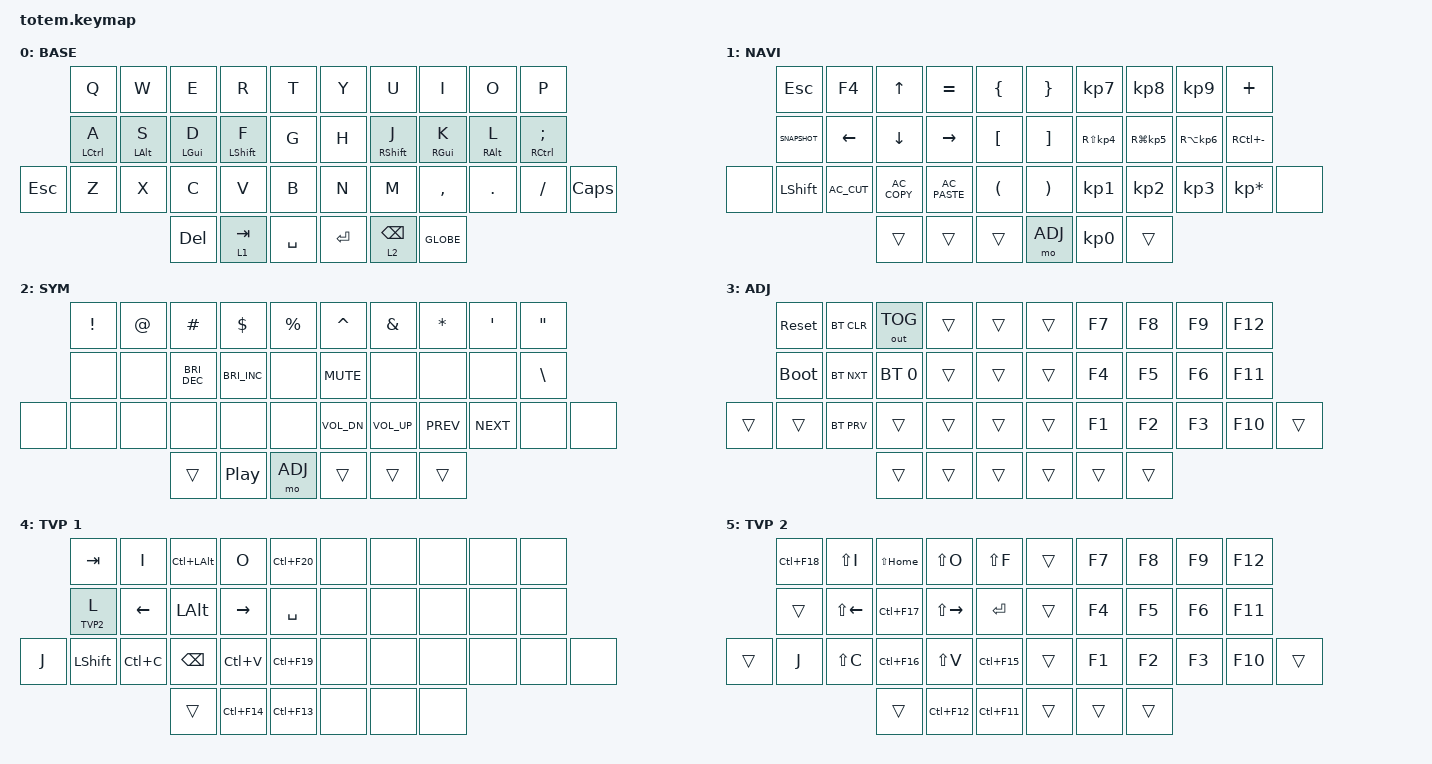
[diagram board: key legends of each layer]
//
//                                                        ▀▀▀▀▀     ▀▀▀▀▀          ▀▀█▀▀
//                                                        ▄▀▀▀▄  ▄  ▄▀▀▀▄  ▄  ▄▀▀▀▄  █  ▄▀▀▀▄
//                                                        █   █  █  █   █  █  █   █  █  █   █
//                                                         ▀▀▀   █   ▀▀▀   █   ▀▀▀   ▀   ▀▀▀
//                                                               █      ▄▄▄█▄▄▄    █   █  
//                                                               ▀      █  █  █     █▄█
//                                                             ▀▀▀▀▀    █  █  █      ▀
//                                                                      ▀  ▀  ▀
//
// ▄▄▄▄▄▄▄▄▄▄▄▄▄▄▄▄▄▄▄▄▄▄▄▄▄▄▄▄▄▄▄▄▄▄▄▄▄▄▄▄▄▄▄▄▄▄▄▄▄▄▄▄▄▄▄▄▄▄▄▄▄▄▄▄▄▄▄▄▄▄▄▄▄▄▄▄▄▄▄▄▄▄▄▄▄▄▄▄▄▄▄▄▄▄▄▄▄▄▄▄▄▄▄▄▄▄▄▄▄▄▄▄▄▄▄▄▄▄▄▄▄▄▄▄▄▄▄▄▄▄▄▄▄▄▄▄▄▄▄▄▄▄▄▄▄▄▄▄▄

#include <behaviors.dtsi>
#include <dt-bindings/zmk/bt.h>
#include <dt-bindings/zmk/keys.h>
#include <dt-bindings/zmk/outputs.h>

#define BASE 0
#define NAV  1
#define SYM  2
#define ADJ  3
#define TVP1 4
#define TVP2 5

&mt {
    quick-tap-ms = <100>;
    global-quick-tap;
    flavor = "tap-preferred";
    tapping-term-ms = <170>;
};

/ {
    combos {
        compatible = "zmk,combos";

        combo_esc {
            timeout-ms = <50>;
            key-positions = <0 1>;
            bindings = <&kp ESC>;
        };

        combo_tvp {
            timeout-ms = <100>;
            key-positions = <11 12 13>;
            bindings = <&tog TVP1>;
        };
    };

    macros {
        gif: gif {
            label = "giphy";
            compatible = "zmk,behavior-macro";
            #binding-cells = <0>;
            bindings =
                <&macro_press>,
                <&kp LSHFT>,
                <&macro_tap>,
                <&kp N2>,
                <&macro_release>,
                <&kp LSHFT>,
                <&macro_tap>,
                <&kp G &kp I &kp F>;
        };
    };

    keymap {
        compatible = "zmk,keymap";

        // ▄▄▄▄▄▄▄▄▄▄▄▄▄▄▄▄▄▄▄▄▄▄▄▄▄▄▄▄▄▄▄▄▄▄▄▄▄▄▄▄▄▄▄▄▄▄▄▄▄▄▄▄▄▄▄▄▄▄▄▄▄▄▄▄▄▄▄▄▄▄▄▄▄▄▄▄▄▄▄▄▄▄▄▄▄▄▄▄▄▄▄▄▄▄▄▄▄▄▄▄▄▄▄▄▄▄▄▄▄▄▄▄▄▄▄▄▄▄▄▄▄▄▄▄▄▄▄▄▄▄▄▄▄▄▄▄▄▄▄▄▄▄▄▄▄▄▄▄▄

        base_layer {
            // ┏━━━━━━━━━━━━━━━━━━━━━━━━━━━━━━━━━━━━━━━┓

            label = "BASE";

            // ┗━━━━━━━━━━━━━━━━━━━━━━━━━━━━━━━━━━━━━━━┛
            //             ┏━━━━━━━━━━━┳━━━━━━━━━━━┳━━━━━━━━━━━┳━━━━━━━━━━━┳━━━━━━━━━━━┓   ┏━━━━━━━━━━━┳━━━━━━━━━━━┳━━━━━━━━━━━┳━━━━━━━━━━━┳━━━━━━━━━━━┓
            //             ┃     Q     ┃     W     ┃     F     ┃     P     ┃     G     ┃   ┃     J     ┃     L     ┃     U     ┃     Y     ┃     ;     ┃
            //             ┣━━━━━━━━━━━╋━━━━━━━━━━━╋━━━━━━━━━━━╋━━━━━━━━━━━╋━━━━━━━━━━━┫   ┣━━━━━━━━━━━╋━━━━━━━━━━━╋━━━━━━━━━━━╋━━━━━━━━━━━╋━━━━━━━━━━━┫
            //             ┃     A     ┃     R     ┃     S     ┃     T     ┃     D     ┃   ┃     H     ┃     N     ┃     E     ┃     I     ┃     O     ┃
            // ┏━━━━━━━━━━━╋━━━━━━━━━━━╋━━━━━━━━━━━╋━━━━━━━━━━━╋━━━━━━━━━━━╋━━━━━━━━━━━┫   ┣━━━━━━━━━━━╋━━━━━━━━━━━╋━━━━━━━━━━━╋━━━━━━━━━━━╋━━━━━━━━━━━╋━━━━━━━━━━━┓
            // ┃     Q     ┃     Z     ┃     X     ┃     C     ┃     V     ┃     B     ┃   ┃     K     ┃     M     ┃     ,     ┃     .     ┃     /     ┃     \     ┃
            // ┗━━━━━━━━━━━┻━━━━━━━━━━━┻━━━━━━━━━━━╋━━━━━━━━━━━╋━━━━━━━━━━━╋━━━━━━━━━━━┫   ┣━━━━━━━━━━━╋━━━━━━━━━━━╋━━━━━━━━━━━╋━━━━━━━━━━━┻━━━━━━━━━━━┻━━━━━━━━━━━┛
            //                                     ┃    DEL    ┃    TAB    ┃    SPC    ┃   ┃   ENTER   ┃           ┃   BSPC    ┃
            //                                     ┗━━━━━━━━━━━┻━━━━━━━━━━━┻━━━━━━━━━━━┛   ┗━━━━━━━━━━━┻━━━━━━━━━━━┻━━━━━━━━━━━┛

            bindings = <
         &kp Q               &kp W       &kp E           &kp R        &kp T        &kp Y      &kp U            &kp I            &kp O       &kp P
         &mt LEFT_CONTROL A  &mt LALT S  &mt LEFT_GUI D  &mt LSHFT F  &kp G        &kp H      &mt RSHFT J      &mt RIGHT_GUI K  &mt RALT L  &mt RIGHT_CONTROL SEMICOLON
&kp ESC  &kp Z               &kp X       &kp C           &kp V        &kp B        &kp N      &kp M            &kp COMMA        &kp DOT     &kp FSLH                     &kp CAPS
                                         &kp DEL         &lt 1 TAB    &kp SPACE    &kp ENTER  &lt 2 BACKSPACE  &kp GLOBE
            >;
        };

        // ▄▄▄▄▄▄▄▄▄▄▄▄▄▄▄▄▄▄▄▄▄▄▄▄▄▄▄▄▄▄▄▄▄▄▄▄▄▄▄▄▄▄▄▄▄▄▄▄▄▄▄▄▄▄▄▄▄▄▄▄▄▄▄▄▄▄▄▄▄▄▄▄▄▄▄▄▄▄▄▄▄▄▄▄▄▄▄▄▄▄▄▄▄▄▄▄▄▄▄▄▄▄▄▄▄▄▄▄▄▄▄▄▄▄▄▄▄▄▄▄▄▄▄▄▄▄▄▄▄▄▄▄▄▄▄▄▄▄▄▄▄▄▄▄▄▄▄▄▄

        nav_layer {
            // ┏━━━━━━━━━━━━━━━━━━━━━━━━━━━━━━━━━━━━━━━┓

            label = "NAVI";

            // ┗━━━━━━━━━━━━━━━━━━━━━━━━━━━━━━━━━━━━━━━┛
            //             ┏━━━━━━━━━━━┳━━━━━━━━━━━┳━━━━━━━━━━━┳━━━━━━━━━━━┳━━━━━━━━━━━┓   ┏━━━━━━━━━━━┳━━━━━━━━━━━┳━━━━━━━━━━━┳━━━━━━━━━━━┳━━━━━━━━━━━┓
            //             ┃           ┃           ┃     UP    ┃           ┃     {     ┃   ┃     }     ┃     7     ┃     8     ┃     9     ┃     +     ┃
            //             ┣━━━━━━━━━━━╋━━━━━━━━━━━╋━━━━━━━━━━━╋━━━━━━━━━━━╋━━━━━━━━━━━┫   ┣━━━━━━━━━━━╋━━━━━━━━━━━╋━━━━━━━━━━━╋━━━━━━━━━━━╋━━━━━━━━━━━┫
            //             ┃   SHIFT   ┃   LEFT    ┃    DOWN   ┃   RIGHT   ┃     [     ┃   ┃     ]     ┃     4     ┃     5     ┃     6     ┃     -     ┃
            // ┏━━━━━━━━━━━╋━━━━━━━━━━━╋━━━━━━━━━━━╋━━━━━━━━━━━╋━━━━━━━━━━━╋━━━━━━━━━━━┫   ┣━━━━━━━━━━━╋━━━━━━━━━━━╋━━━━━━━━━━━╋━━━━━━━━━━━╋━━━━━━━━━━━╋━━━━━━━━━━━┓
            // ┃           ┃           ┃   P UP    ┃  C LOCK   ┃  P DOWN   ┃     (     ┃   ┃     )     ┃     1     ┃     2     ┃     3     ┃     *     ┃           ┃
            // ┗━━━━━━━━━━━┻━━━━━━━━━━━┻━━━━━━━━━━━╋━━━━━━━━━━━╋━━━━━━━━━━━╋━━━━━━━━━━━┫   ┣━━━━━━━━━━━╋━━━━━━━━━━━╋━━━━━━━━━━━╋━━━━━━━━━━━┻━━━━━━━━━━━┻━━━━━━━━━━━┛
            //                                     ┃           ┃    TAB    ┃    SPC    ┃   ┃    DEL    ┃     0     ┃           ┃
            //                                     ┗━━━━━━━━━━━┻━━━━━━━━━━━┻━━━━━━━━━━━┛   ┗━━━━━━━━━━━┻━━━━━━━━━━━┻━━━━━━━━━━━┛

            bindings = <
       &kp ESC         &kp F4          &kp UP         &kp EQUAL       &kp LBRC    &kp RBRC  &kp KP_N7      &kp KP_N8      &kp KP_N9      &kp PLUS
       &kp C_SNAPSHOT  &kp LEFT_ARROW  &kp DOWN       &kp RIGHT       &kp LBKT    &kp RBKT  &kp RS(KP_N4)  &kp RG(KP_N5)  &kp RA(KP_N6)  &kp RC(MINUS)
&none  &kp LEFT_SHIFT  &kp C_AC_CUT    &kp C_AC_COPY  &kp C_AC_PASTE  &kp LPAR    &kp RPAR  &kp KP_N1      &kp KP_N2      &kp KP_N3      &kp KP_MULTIPLY  &none
                                       &trans         &trans          &trans      &mo ADJ   &kp KP_N0      &trans
            >;
        };

        // ▄▄▄▄▄▄▄▄▄▄▄▄▄▄▄▄▄▄▄▄▄▄▄▄▄▄▄▄▄▄▄▄▄▄▄▄▄▄▄▄▄▄▄▄▄▄▄▄▄▄▄▄▄▄▄▄▄▄▄▄▄▄▄▄▄▄▄▄▄▄▄▄▄▄▄▄▄▄▄▄▄▄▄▄▄▄▄▄▄▄▄▄▄▄▄▄▄▄▄▄▄▄▄▄▄▄▄▄▄▄▄▄▄▄▄▄▄▄▄▄▄▄▄▄▄▄▄▄▄▄▄▄▄▄▄▄▄▄▄▄▄▄▄▄▄▄▄▄▄

        sim_layer {
            // ┏━━━━━━━━━━━━━━━━━━━━━━━━━━━━━━━━━━━━━━━┓

            label = "SYM";

            // ┗━━━━━━━━━━━━━━━━━━━━━━━━━━━━━━━━━━━━━━━┛
            //             ┏━━━━━━━━━━━┳━━━━━━━━━━━┳━━━━━━━━━━━┳━━━━━━━━━━━┳━━━━━━━━━━━┓   ┏━━━━━━━━━━━┳━━━━━━━━━━━┳━━━━━━━━━━━┳━━━━━━━━━━━┳━━━━━━━━━━━┓
            //             ┃     !     ┃     @     ┃     #     ┃     $     ┃     %     ┃   ┃     ˆ     ┃     &     ┃     Ü     ┃     '     ┃     "     ┃
            //             ┣━━━━━━━━━━━╋━━━━━━━━━━━╋━━━━━━━━━━━╋━━━━━━━━━━━╋━━━━━━━━━━━┫   ┣━━━━━━━━━━━╋━━━━━━━━━━━╋━━━━━━━━━━━╋━━━━━━━━━━━╋━━━━━━━━━━━┫
            //             ┃     Ä     ┃           ┃    SZ     ┃           ┃           ┃   ┃   MUTE    ┃   YEN     ┃   EURO    ┃  POUND    ┃     Ö     ┃
            // ┏━━━━━━━━━━━╋━━━━━━━━━━━╋━━━━━━━━━━━╋━━━━━━━━━━━╋━━━━━━━━━━━╋━━━━━━━━━━━┫   ┣━━━━━━━━━━━╋━━━━━━━━━━━╋━━━━━━━━━━━╋━━━━━━━━━━━╋━━━━━━━━━━━╋━━━━━━━━━━━┓
            // ┃           ┃  EMAIL1   ┃  EMAIL2   ┃           ┃           ┃           ┃   ┃   VOL-    ┃   VOL+    ┃   LAST    ┃   NEXT    ┃     \     ┃           ┃
            // ┗━━━━━━━━━━━┻━━━━━━━━━━━┻━━━━━━━━━━━╋━━━━━━━━━━━╋━━━━━━━━━━━╋━━━━━━━━━━━┫   ┣━━━━━━━━━━━╋━━━━━━━━━━━╋━━━━━━━━━━━╋━━━━━━━━━━━┻━━━━━━━━━━━┻━━━━━━━━━━━┛
            //                                     ┃           ┃    GIF    ┃    ADJ    ┃   ┃           ┃           ┃           ┃
            //                                     ┗━━━━━━━━━━━┻━━━━━━━━━━━┻━━━━━━━━━━━┛   ┗━━━━━━━━━━━┻━━━━━━━━━━━┻━━━━━━━━━━━┛

            bindings = <
       &kp EXCL  &kp AT  &kp HASH              &kp DLLR              &kp PRCNT    &kp CARET     &kp AMPS      &kp ASTRK   &kp SQT     &kp DQT
       &none     &none   &kp C_BRIGHTNESS_DEC  &kp C_BRIGHTNESS_INC  &none        &kp C_MUTE    &none         &none       &none       &kp BACKSLASH
&none  &none     &none   &none                 &none                 &none        &kp C_VOL_DN  &kp C_VOL_UP  &kp C_PREV  &kp C_NEXT  &none          &none
                         &trans                &kp C_PLAY_PAUSE      &mo ADJ      &trans        &trans        &trans
            >;
        };

        // ▄▄▄▄▄▄▄▄▄▄▄▄▄▄▄▄▄▄▄▄▄▄▄▄▄▄▄▄▄▄▄▄▄▄▄▄▄▄▄▄▄▄▄▄▄▄▄▄▄▄▄▄▄▄▄▄▄▄▄▄▄▄▄▄▄▄▄▄▄▄▄▄▄▄▄▄▄▄▄▄▄▄▄▄▄▄▄▄▄▄▄▄▄▄▄▄▄▄▄▄▄▄▄▄▄▄▄▄▄▄▄▄▄▄▄▄▄▄▄▄▄▄▄▄▄▄▄▄▄▄▄▄▄▄▄▄▄▄▄▄▄▄▄▄▄▄▄▄▄

        adjust_layer {
            // ┏━━━━━━━━━━━━━━━━━━━━━━━━━━━━━━━━━━━━━━━┓

            label = "ADJ";

            // ┗━━━━━━━━━━━━━━━━━━━━━━━━━━━━━━━━━━━━━━━┛
            //             ┏━━━━━━━━━━━┳━━━━━━━━━━━┳━━━━━━━━━━━┳━━━━━━━━━━━┳━━━━━━━━━━━┓   ┏━━━━━━━━━━━┳━━━━━━━━━━━┳━━━━━━━━━━━┳━━━━━━━━━━━┳━━━━━━━━━━━┓
            //             ┃   RESET   ┃ BT CLEAR  ┃  OUT TOG  ┃           ┃           ┃   ┃           ┃    F7     ┃    F8     ┃    F9     ┃    F12    ┃
            //             ┣━━━━━━━━━━━╋━━━━━━━━━━━╋━━━━━━━━━━━╋━━━━━━━━━━━╋━━━━━━━━━━━┫   ┣━━━━━━━━━━━╋━━━━━━━━━━━╋━━━━━━━━━━━╋━━━━━━━━━━━╋━━━━━━━━━━━┫
            //             ┃ BOOTLOAD  ┃ BT NEXT   ┃           ┃           ┃           ┃   ┃           ┃    F4     ┃    F5     ┃    F6     ┃    F11    ┃
            // ┏━━━━━━━━━━━╋━━━━━━━━━━━╋━━━━━━━━━━━╋━━━━━━━━━━━╋━━━━━━━━━━━╋━━━━━━━━━━━┫   ┣━━━━━━━━━━━╋━━━━━━━━━━━╋━━━━━━━━━━━╋━━━━━━━━━━━╋━━━━━━━━━━━╋━━━━━━━━━━━┓
            // ┃           ┃           ┃ BT PREV   ┃           ┃           ┃           ┃   ┃           ┃    F1     ┃    F2     ┃    F3     ┃    F10    ┃           ┃
            // ┗━━━━━━━━━━━┻━━━━━━━━━━━┻━━━━━━━━━━━╋━━━━━━━━━━━╋━━━━━━━━━━━╋━━━━━━━━━━━┫   ┣━━━━━━━━━━━╋━━━━━━━━━━━╋━━━━━━━━━━━╋━━━━━━━━━━━┻━━━━━━━━━━━┻━━━━━━━━━━━┛
            //                                     ┃           ┃           ┃           ┃   ┃           ┃           ┃           ┃
            //                                     ┗━━━━━━━━━━━┻━━━━━━━━━━━┻━━━━━━━━━━━┛   ┗━━━━━━━━━━━┻━━━━━━━━━━━┻━━━━━━━━━━━┛

            bindings = <
        &sys_reset   &bt BT_CLR  &out OUT_TOG  &trans  &trans    &trans  &kp F7  &kp F8  &kp F9  &kp F12
        &bootloader  &bt BT_NXT  &bt BT_SEL 0  &trans  &trans    &trans  &kp F4  &kp F5  &kp F6  &kp F11
&trans  &trans       &bt BT_PRV  &trans        &trans  &trans    &trans  &kp F1  &kp F2  &kp F3  &kp F10  &trans
                                 &trans        &trans  &trans    &trans  &trans  &trans
            >;
        };

        // ▄▄▄▄▄▄▄▄▄▄▄▄▄▄▄▄▄▄▄▄▄▄▄▄▄▄▄▄▄▄▄▄▄▄▄▄▄▄▄▄▄▄▄▄▄▄▄▄▄▄▄▄▄▄▄▄▄▄▄▄▄▄▄▄▄▄▄▄▄▄▄▄▄▄▄▄▄▄▄▄▄▄▄▄▄▄▄▄▄▄▄▄▄▄▄▄▄▄▄▄▄▄▄▄▄▄▄▄▄▄▄▄▄▄▄▄▄▄▄▄▄▄▄▄▄▄▄▄▄▄▄▄▄▄▄▄▄▄▄▄▄▄▄▄▄▄▄▄▄

        tvp1_layer {
            // ┏━━━━━━━━━━━━━━━━━━━━━━━━━━━━━━━━━━━━━━━┓

            label = "TVP 1";

            // ┗━━━━━━━━━━━━━━━━━━━━━━━━━━━━━━━━━━━━━━━┛
            //             ┏━━━━━━━━━━━┳━━━━━━━━━━━┳━━━━━━━━━━━┳━━━━━━━━━━━┳━━━━━━━━━━━┓   ┏━━━━━━━━━━━┳━━━━━━━━━━━┳━━━━━━━━━━━┳━━━━━━━━━━━┳━━━━━━━━━━━┓
            //             ┃ NEXT FILE ┃ MARK IN   ┃ ROTATE    ┃ MARK OUT  ┃ SHOW SNAP ┃   ┃           ┃           ┃           ┃           ┃           ┃
            //             ┣━━━━━━━━━━━╋━━━━━━━━━━━╋━━━━━━━━━━━╋━━━━━━━━━━━╋━━━━━━━━━━━┫   ┣━━━━━━━━━━━╋━━━━━━━━━━━╋━━━━━━━━━━━╋━━━━━━━━━━━╋━━━━━━━━━━━┫
            //             ┃ TVP II    ┃ LEFT      ┃ PAN       ┃ RIGHT     ┃ PLAY/FLIP ┃   ┃           ┃           ┃           ┃           ┃           ┃
            // ┏━━━━━━━━━━━╋━━━━━━━━━━━╋━━━━━━━━━━━╋━━━━━━━━━━━╋━━━━━━━━━━━╋━━━━━━━━━━━┫   ┣━━━━━━━━━━━╋━━━━━━━━━━━╋━━━━━━━━━━━╋━━━━━━━━━━━╋━━━━━━━━━━━╋━━━━━━━━━━━┓
            // ┃ FULLSCR   ┃ SHIFT     ┃ COPY      ┃ DELETE    ┃ PASTE     ┃ IMG MARK  ┃   ┃           ┃           ┃           ┃           ┃           ┃           ┃
            // ┗━━━━━━━━━━━┻━━━━━━━━━━━┻━━━━━━━━━━━╋━━━━━━━━━━━╋━━━━━━━━━━━╋━━━━━━━━━━━┫   ┣━━━━━━━━━━━╋━━━━━━━━━━━╋━━━━━━━━━━━╋━━━━━━━━━━━┻━━━━━━━━━━━┻━━━━━━━━━━━┛
            //                                     ┃           ┃ UNDO/SAVE ┃  SEL/MOV  ┃   ┃           ┃           ┃           ┃
            //                                     ┗━━━━━━━━━━━┻━━━━━━━━━━━┻━━━━━━━━━━━┛   ┗━━━━━━━━━━━┻━━━━━━━━━━━┻━━━━━━━━━━━┛

            bindings = <
       &kp TAB     &kp I      &kp LC(LALT)  &kp O        &kp LC(F20)    &none  &none  &none  &none  &none
       &lt TVP2 L  &kp LEFT   &kp LALT      &kp RIGHT    &kp SPACE      &none  &none  &none  &none  &none
&kp J  &kp LSHFT   &kp LC(C)  &kp BSPC      &kp LC(V)    &kp LC(F19)    &none  &none  &none  &none  &none  &none
                              &trans        &kp LC(F14)  &kp LC(F13)    &none  &none  &none
            >;
        };

        // ▄▄▄▄▄▄▄▄▄▄▄▄▄▄▄▄▄▄▄▄▄▄▄▄▄▄▄▄▄▄▄▄▄▄▄▄▄▄▄▄▄▄▄▄▄▄▄▄▄▄▄▄▄▄▄▄▄▄▄▄▄▄▄▄▄▄▄▄▄▄▄▄▄▄▄▄▄▄▄▄▄▄▄▄▄▄▄▄▄▄▄▄▄▄▄▄▄▄▄▄▄▄▄▄▄▄▄▄▄▄▄▄▄▄▄▄▄▄▄▄▄▄▄▄▄▄▄▄▄▄▄▄▄▄▄▄▄▄▄▄▄▄▄▄▄▄▄▄▄

        tvp2_layer {
            // ┏━━━━━━━━━━━━━━━━━━━━━━━━━━━━━━━━━━━━━━━┓

            label = "TVP 2";

            // ┗━━━━━━━━━━━━━━━━━━━━━━━━━━━━━━━━━━━━━━━┛
            //             ┏━━━━━━━━━━━┳━━━━━━━━━━━┳━━━━━━━━━━━┳━━━━━━━━━━━┳━━━━━━━━━━━┓   ┏━━━━━━━━━━━┳━━━━━━━━━━━┳━━━━━━━━━━━┳━━━━━━━━━━━┳━━━━━━━━━━━┓
            //             ┃ SOLO      ┃ TOGGLE IN ┃ RESET ROT ┃ TOGGLE OUT┃ TAKE SNAP ┃   ┃           ┃           ┃           ┃           ┃           ┃
            //             ┣━━━━━━━━━━━╋━━━━━━━━━━━╋━━━━━━━━━━━╋━━━━━━━━━━━╋━━━━━━━━━━━┫   ┣━━━━━━━━━━━╋━━━━━━━━━━━╋━━━━━━━━━━━╋━━━━━━━━━━━╋━━━━━━━━━━━┫
            //             ┃ ---       ┃ LAST KEY  ┃ NEW KEY   ┃ NEXT KEY  ┃ ENTER     ┃   ┃           ┃           ┃           ┃           ┃           ┃
            // ┏━━━━━━━━━━━╋━━━━━━━━━━━╋━━━━━━━━━━━╋━━━━━━━━━━━╋━━━━━━━━━━━╋━━━━━━━━━━━┫   ┣━━━━━━━━━━━╋━━━━━━━━━━━╋━━━━━━━━━━━╋━━━━━━━━━━━╋━━━━━━━━━━━╋━━━━━━━━━━━┓
            // ┃           ┃ FULLSCR   ┃ CPY2BRUSH ┃ DEL HEAD  ┃ PSTinPLACE┃ BOOK MARK ┃   ┃           ┃           ┃           ┃           ┃           ┃           ┃
            // ┗━━━━━━━━━━━┻━━━━━━━━━━━┻━━━━━━━━━━━╋━━━━━━━━━━━╋━━━━━━━━━━━╋━━━━━━━━━━━┫   ┣━━━━━━━━━━━╋━━━━━━━━━━━╋━━━━━━━━━━━╋━━━━━━━━━━━┻━━━━━━━━━━━┻━━━━━━━━━━━┛
            //                                     ┃           ┃ REDO/SAV1 ┃TRANS/WARP ┃   ┃           ┃           ┃           ┃
            //                                     ┗━━━━━━━━━━━┻━━━━━━━━━━━┻━━━━━━━━━━━┛   ┗━━━━━━━━━━━┻━━━━━━━━━━━┻━━━━━━━━━━━┛

            bindings = <
        &kp LC(F18)  &kp LS(I)     &kp LS(HOME)  &kp LS(O)      &kp LS(F)      &trans  &kp F7  &kp F8  &kp F9  &kp F12
        &trans       &kp LS(LEFT)  &kp LC(F17)   &kp LS(RIGHT)  &kp RET        &trans  &kp F4  &kp F5  &kp F6  &kp F11
&trans  &kp J        &kp LS(C)     &kp LC(F16)   &kp LS(V)      &kp LC(F15)    &trans  &kp F1  &kp F2  &kp F3  &kp F10  &trans
                                   &trans        &kp LC(F12)    &kp LC(F11)    &trans  &trans  &trans
            >;
        };
    };
};
